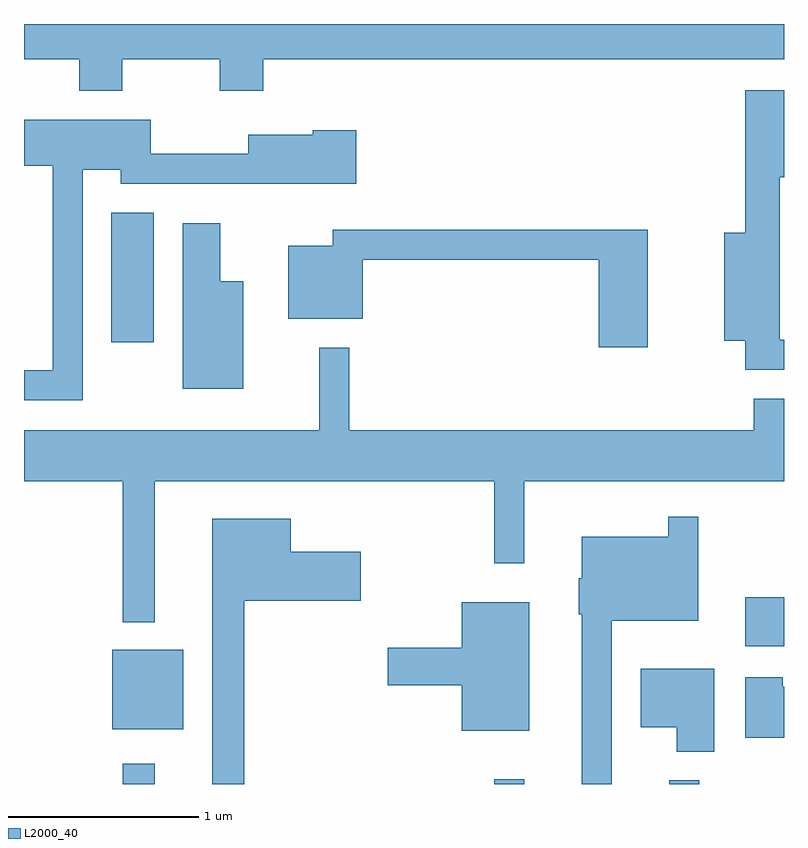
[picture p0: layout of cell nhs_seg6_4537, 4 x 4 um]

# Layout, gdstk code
import gdstk
lib = gdstk.Library(unit=1e-6, precision=1e-09)
def R(c, l, rs):  # rectangles x0, y0, x1, y1
    for r in rs: c.add(gdstk.rectangle(r[:2], r[2:], *l))
def P(c, l, *ps):  # polygons
    for p in ps: c.add(gdstk.Polygon(p, *l))
L2000_40 = (2000, 40)

nhs_seg6_4537 = lib.new_cell('nhs_seg6_4537')
R(nhs_seg6_4537, L2000_40, [(324.131,1606.162,324.299,1606.268), (326.086,1606.162,326.244,1606.188), (327.006,1606.162,327.164,1606.183), (324.076,1606.451,324.449,1606.869), (327.406,1606.886,327.611,1607.144), (324.071,1608.486,324.294,1609.169)])
P(nhs_seg6_4537, L2000_40, [(324.129,1609.976),(324.641,1609.976),(324.641,1609.811),(324.869,1609.811),(324.869,1609.976),(327.611,1609.976),(327.611,1610.162),(323.611,1610.162),(323.611,1609.976),(323.901,1609.976),(323.901,1609.811),(324.129,1609.811)],
  [(327.611,1608.499),(327.589,1608.499),(327.589,1609.356),(327.611,1609.356),(327.611,1609.814),(327.406,1609.814),(327.406,1609.064),(327.296,1609.064),(327.296,1608.496),(327.406,1608.496),(327.406,1608.341),(327.611,1608.341)],
  [(323.919,1609.396),(324.121,1609.396),(324.121,1609.321),(325.359,1609.321),(325.359,1609.604),(325.131,1609.604),(325.131,1609.579),(324.791,1609.579),(324.791,1609.479),(324.279,1609.479),(324.279,1609.659),(323.611,1609.659),(323.611,1609.416),(323.761,1609.416),(323.761,1608.339),(323.611,1608.339),(323.611,1608.181),(323.919,1608.181)],
  [(324.764,1608.809),(324.644,1608.809),(324.644,1609.114),(324.446,1609.114),(324.446,1608.241),(324.764,1608.241)],
  [(326.894,1609.079),(325.236,1609.079),(325.236,1608.994),(325.001,1608.994),(325.001,1608.611),(325.394,1608.611),(325.394,1608.921),(326.636,1608.921),(326.636,1608.461),(326.894,1608.461)],
  [(324.299,1607.756),(326.086,1607.756),(326.086,1607.323),(326.244,1607.323),(326.244,1607.756),(327.611,1607.756),(327.611,1608.189),(327.451,1608.189),(327.451,1608.024),(325.324,1608.024),(325.324,1608.458),(325.166,1608.458),(325.166,1608.024),(323.611,1608.024),(323.611,1607.756),(324.131,1607.756),(324.131,1607.013),(324.299,1607.013)],
  [(326.704,1607.021),(327.159,1607.021),(327.159,1607.568),(327.001,1607.568),(327.001,1607.464),(326.546,1607.464),(326.546,1607.245),(326.531,1607.245),(326.531,1607.055),(326.546,1607.055),(326.546,1606.162),(326.704,1606.162)],
  [(324.769,1607.126),(325.384,1607.126),(325.384,1607.384),(325.014,1607.384),(325.014,1607.559),(324.601,1607.559),(324.601,1606.162),(324.769,1606.162)],
  [(326.269,1607.119),(325.916,1607.119),(325.916,1606.879),(325.526,1606.879),(325.526,1606.681),(325.916,1606.681),(325.916,1606.441),(326.269,1606.441)],
  [(327.244,1606.769),(326.856,1606.769),(326.856,1606.461),(327.046,1606.461),(327.046,1606.331),(327.244,1606.331)],
  [(327.611,1606.674),(327.604,1606.674),(327.604,1606.724),(327.406,1606.724),(327.406,1606.406),(327.611,1606.406)])

lib.write_gds('nhs_seg6_4537.gds')
